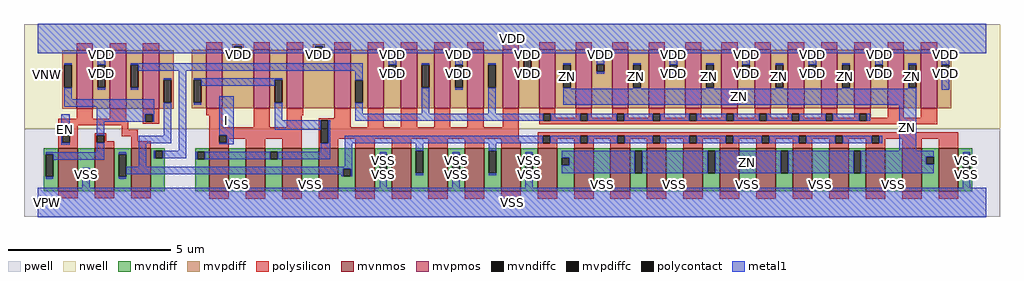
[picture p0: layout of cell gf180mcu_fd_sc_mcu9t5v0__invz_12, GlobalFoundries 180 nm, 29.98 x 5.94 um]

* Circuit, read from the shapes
.subckt gf180mcu_fd_sc_mcu9t5v0__invz_12 EN I ZN VDD VNW VPW VSS
XM1 VSS EN n1 VPW nfet_06v0 w=1.32u l=0.6u
XM2 n2 n1 VSS VPW nfet_06v0 w=1.32u l=0.6u
XM3 n3 EN n2 VPW nfet_06v0 w=1.32u l=0.6u
XM4 VSS I n4 VPW nfet_06v0 w=1.32u l=0.6u m=3
XM5 n2 n4 VSS VPW nfet_06v0 w=1.32u l=0.6u m=6
XM6 ZN n2 VSS VPW nfet_06v0 w=1.32u l=0.6u m=12
XM7 VDD EN n1 VNW pfet_06v0 w=1.8u l=0.5u
XM8 n3 EN VDD VNW pfet_06v0 w=1.8u l=0.5u
XM9 n2 n1 n3 VNW pfet_06v0 w=1.8u l=0.5u
XM10 VDD I n4 VNW pfet_06v0 w=1.8u l=0.5u m=3
XM11 n3 n4 VDD VNW pfet_06v0 w=1.8u l=0.5u m=6
XM12 ZN n3 VDD VNW pfet_06v0 w=1.8u l=0.5u m=12
.ends

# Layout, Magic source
magic
tech gf180mcuD
magscale 1 10
<< nwell >>
rect -86 453 5910 1094
<< pwell >>
rect -86 -86 5910 453
<< mvnmos >>
rect 124 69 244 333
rect 348 69 468 333
rect 572 69 692 333
rect 1053 68 1173 332
rect 1277 68 1397 332
rect 1501 68 1621 332
rect 1725 68 1845 332
rect 1949 68 2069 332
rect 2173 68 2293 332
rect 2397 68 2517 332
rect 2621 68 2741 332
rect 2845 68 2965 332
rect 3069 68 3189 332
rect 3293 68 3413 332
rect 3517 68 3637 332
rect 3741 68 3861 332
rect 3965 68 4085 332
rect 4189 68 4309 332
rect 4413 68 4533 332
rect 4637 68 4757 332
rect 4861 68 4981 332
rect 5085 68 5205 332
rect 5309 68 5429 332
rect 5533 68 5653 332
<< mvpmos >>
rect 237 575 337 935
rect 441 575 541 935
rect 645 575 745 935
rect 1033 580 1133 940
rect 1325 580 1425 940
rect 1529 580 1629 940
rect 1821 580 1921 940
rect 2025 580 2125 940
rect 2229 580 2329 940
rect 2433 580 2533 940
rect 2637 580 2737 940
rect 2855 580 2955 940
rect 3079 580 3179 940
rect 3303 580 3403 940
rect 3527 580 3627 940
rect 3751 580 3851 940
rect 3975 580 4075 940
rect 4199 580 4299 940
rect 4403 580 4503 940
rect 4607 580 4707 940
rect 4811 580 4911 940
rect 5015 580 5115 940
rect 5219 580 5319 940
rect 5423 580 5523 940
<< mvndiff >>
rect 36 297 124 333
rect 36 157 49 297
rect 95 157 124 297
rect 36 69 124 157
rect 244 203 348 333
rect 244 157 273 203
rect 319 157 348 203
rect 244 69 348 157
rect 468 297 572 333
rect 468 157 497 297
rect 543 157 572 297
rect 468 69 572 157
rect 692 319 780 333
rect 692 273 721 319
rect 767 273 780 319
rect 692 69 780 273
rect 965 311 1053 332
rect 965 265 978 311
rect 1024 265 1053 311
rect 965 68 1053 265
rect 1173 127 1277 332
rect 1173 81 1202 127
rect 1248 81 1277 127
rect 1173 68 1277 81
rect 1397 311 1501 332
rect 1397 265 1426 311
rect 1472 265 1501 311
rect 1397 68 1501 265
rect 1621 127 1725 332
rect 1621 81 1650 127
rect 1696 81 1725 127
rect 1621 68 1725 81
rect 1845 209 1949 332
rect 1845 163 1874 209
rect 1920 163 1949 209
rect 1845 68 1949 163
rect 2069 297 2173 332
rect 2069 157 2098 297
rect 2144 157 2173 297
rect 2069 68 2173 157
rect 2293 319 2397 332
rect 2293 179 2322 319
rect 2368 179 2397 319
rect 2293 68 2397 179
rect 2517 297 2621 332
rect 2517 157 2546 297
rect 2592 157 2621 297
rect 2517 68 2621 157
rect 2741 319 2845 332
rect 2741 179 2770 319
rect 2816 179 2845 319
rect 2741 68 2845 179
rect 2965 297 3069 332
rect 2965 157 2994 297
rect 3040 157 3069 297
rect 2965 68 3069 157
rect 3189 274 3293 332
rect 3189 228 3218 274
rect 3264 228 3293 274
rect 3189 68 3293 228
rect 3413 127 3517 332
rect 3413 81 3442 127
rect 3488 81 3517 127
rect 3413 68 3517 81
rect 3637 319 3741 332
rect 3637 179 3666 319
rect 3712 179 3741 319
rect 3637 68 3741 179
rect 3861 127 3965 332
rect 3861 81 3890 127
rect 3936 81 3965 127
rect 3861 68 3965 81
rect 4085 319 4189 332
rect 4085 179 4114 319
rect 4160 179 4189 319
rect 4085 68 4189 179
rect 4309 127 4413 332
rect 4309 81 4338 127
rect 4384 81 4413 127
rect 4309 68 4413 81
rect 4533 319 4637 332
rect 4533 179 4562 319
rect 4608 179 4637 319
rect 4533 68 4637 179
rect 4757 127 4861 332
rect 4757 81 4786 127
rect 4832 81 4861 127
rect 4757 68 4861 81
rect 4981 319 5085 332
rect 4981 179 5010 319
rect 5056 179 5085 319
rect 4981 68 5085 179
rect 5205 127 5309 332
rect 5205 81 5234 127
rect 5280 81 5309 127
rect 5205 68 5309 81
rect 5429 280 5533 332
rect 5429 234 5458 280
rect 5504 234 5533 280
rect 5429 68 5533 234
rect 5653 297 5741 332
rect 5653 157 5682 297
rect 5728 157 5741 297
rect 5653 68 5741 157
<< mvpdiff >>
rect 1193 959 1265 972
rect 1193 940 1206 959
rect 149 845 237 935
rect 149 705 162 845
rect 208 705 237 845
rect 149 575 237 705
rect 337 845 441 935
rect 337 705 366 845
rect 412 705 441 845
rect 337 575 441 705
rect 541 845 645 935
rect 541 705 570 845
rect 616 705 645 845
rect 541 575 645 705
rect 745 753 833 935
rect 745 613 774 753
rect 820 613 833 753
rect 745 575 833 613
rect 945 753 1033 940
rect 945 613 958 753
rect 1004 613 1033 753
rect 945 580 1033 613
rect 1133 913 1206 940
rect 1252 940 1265 959
rect 1689 959 1761 972
rect 1689 940 1702 959
rect 1252 913 1325 940
rect 1133 580 1325 913
rect 1425 753 1529 940
rect 1425 613 1454 753
rect 1500 613 1529 753
rect 1425 580 1529 613
rect 1629 913 1702 940
rect 1748 940 1761 959
rect 1748 913 1821 940
rect 1629 580 1821 913
rect 1921 752 2025 940
rect 1921 612 1950 752
rect 1996 612 2025 752
rect 1921 580 2025 612
rect 2125 847 2229 940
rect 2125 801 2154 847
rect 2200 801 2229 847
rect 2125 580 2229 801
rect 2329 845 2433 940
rect 2329 705 2358 845
rect 2404 705 2433 845
rect 2329 580 2433 705
rect 2533 845 2637 940
rect 2533 705 2562 845
rect 2608 705 2637 845
rect 2533 580 2637 705
rect 2737 845 2855 940
rect 2737 705 2766 845
rect 2812 705 2855 845
rect 2737 580 2855 705
rect 2955 927 3079 940
rect 2955 787 2984 927
rect 3030 787 3079 927
rect 2955 580 3079 787
rect 3179 845 3303 940
rect 3179 705 3228 845
rect 3274 705 3303 845
rect 3179 580 3303 705
rect 3403 849 3527 940
rect 3403 803 3432 849
rect 3478 803 3527 849
rect 3403 580 3527 803
rect 3627 845 3751 940
rect 3627 705 3656 845
rect 3702 705 3751 845
rect 3627 580 3751 705
rect 3851 845 3975 940
rect 3851 799 3880 845
rect 3926 799 3975 845
rect 3851 580 3975 799
rect 4075 845 4199 940
rect 4075 705 4104 845
rect 4150 705 4199 845
rect 4075 580 4199 705
rect 4299 845 4403 940
rect 4299 799 4328 845
rect 4374 799 4403 845
rect 4299 580 4403 799
rect 4503 845 4607 940
rect 4503 705 4532 845
rect 4578 705 4607 845
rect 4503 580 4607 705
rect 4707 845 4811 940
rect 4707 799 4736 845
rect 4782 799 4811 845
rect 4707 580 4811 799
rect 4911 845 5015 940
rect 4911 705 4940 845
rect 4986 705 5015 845
rect 4911 580 5015 705
rect 5115 845 5219 940
rect 5115 799 5144 845
rect 5190 799 5219 845
rect 5115 580 5219 799
rect 5319 845 5423 940
rect 5319 705 5348 845
rect 5394 705 5423 845
rect 5319 580 5423 705
rect 5523 845 5611 940
rect 5523 799 5552 845
rect 5598 799 5611 845
rect 5523 580 5611 799
<< mvndiffc >>
rect 49 157 95 297
rect 273 157 319 203
rect 497 157 543 297
rect 721 273 767 319
rect 978 265 1024 311
rect 1202 81 1248 127
rect 1426 265 1472 311
rect 1650 81 1696 127
rect 1874 163 1920 209
rect 2098 157 2144 297
rect 2322 179 2368 319
rect 2546 157 2592 297
rect 2770 179 2816 319
rect 2994 157 3040 297
rect 3218 228 3264 274
rect 3442 81 3488 127
rect 3666 179 3712 319
rect 3890 81 3936 127
rect 4114 179 4160 319
rect 4338 81 4384 127
rect 4562 179 4608 319
rect 4786 81 4832 127
rect 5010 179 5056 319
rect 5234 81 5280 127
rect 5458 234 5504 280
rect 5682 157 5728 297
<< mvpdiffc >>
rect 162 705 208 845
rect 366 705 412 845
rect 570 705 616 845
rect 774 613 820 753
rect 958 613 1004 753
rect 1206 913 1252 959
rect 1454 613 1500 753
rect 1702 913 1748 959
rect 1950 612 1996 752
rect 2154 801 2200 847
rect 2358 705 2404 845
rect 2562 705 2608 845
rect 2766 705 2812 845
rect 2984 787 3030 927
rect 3228 705 3274 845
rect 3432 803 3478 849
rect 3656 705 3702 845
rect 3880 799 3926 845
rect 4104 705 4150 845
rect 4328 799 4374 845
rect 4532 705 4578 845
rect 4736 799 4782 845
rect 4940 705 4986 845
rect 5144 799 5190 845
rect 5348 705 5394 845
rect 5552 799 5598 845
<< polysilicon >>
rect 237 935 337 979
rect 441 935 541 979
rect 645 935 745 979
rect 1033 940 1133 984
rect 1325 940 1425 984
rect 1529 940 1629 984
rect 1821 940 1921 984
rect 2025 940 2125 984
rect 2229 940 2329 984
rect 2433 940 2533 984
rect 2637 940 2737 984
rect 2855 940 2955 984
rect 3079 940 3179 984
rect 3303 940 3403 984
rect 3527 940 3627 984
rect 3751 940 3851 984
rect 3975 940 4075 984
rect 4199 940 4299 984
rect 4403 940 4503 984
rect 4607 940 4707 984
rect 4811 940 4911 984
rect 5015 940 5115 984
rect 5219 940 5319 984
rect 5423 940 5523 984
rect 237 515 337 575
rect 441 515 541 575
rect 124 504 541 515
rect 645 542 745 575
rect 124 475 553 504
rect 645 496 658 542
rect 704 496 745 542
rect 1033 536 1133 580
rect 645 483 745 496
rect 124 414 244 475
rect 513 448 553 475
rect 1053 464 1133 536
rect 1325 464 1425 580
rect 1529 536 1629 580
rect 1529 464 1621 536
rect 1821 518 1921 580
rect 124 368 148 414
rect 194 368 244 414
rect 124 333 244 368
rect 348 414 420 427
rect 348 368 361 414
rect 407 377 420 414
rect 513 408 612 448
rect 572 377 612 408
rect 1053 414 1621 464
rect 407 368 468 377
rect 348 333 468 368
rect 572 333 692 377
rect 1053 368 1114 414
rect 1160 392 1621 414
rect 1160 368 1173 392
rect 1053 332 1173 368
rect 1277 332 1397 392
rect 1501 332 1621 392
rect 1725 505 1921 518
rect 1725 365 1738 505
rect 1784 464 1921 505
rect 2025 464 2125 580
rect 2229 464 2329 580
rect 2433 464 2533 580
rect 2637 464 2737 580
rect 2855 464 2955 580
rect 3079 547 3179 580
rect 3079 501 3105 547
rect 3151 520 3179 547
rect 3303 547 3403 580
rect 3303 520 3330 547
rect 3151 501 3330 520
rect 3376 520 3403 547
rect 3527 547 3627 580
rect 3527 520 3556 547
rect 3376 501 3556 520
rect 3602 520 3627 547
rect 3751 547 3851 580
rect 3751 520 3778 547
rect 3602 501 3778 520
rect 3824 520 3851 547
rect 3975 547 4075 580
rect 3975 520 4002 547
rect 3824 501 4002 520
rect 4048 520 4075 547
rect 4199 547 4299 580
rect 4199 520 4228 547
rect 4048 501 4228 520
rect 4274 520 4299 547
rect 4403 547 4503 580
rect 4403 520 4431 547
rect 4274 501 4431 520
rect 4477 520 4503 547
rect 4607 547 4707 580
rect 4607 520 4631 547
rect 4477 501 4631 520
rect 4677 520 4707 547
rect 4811 547 4911 580
rect 4811 520 4838 547
rect 4677 501 4838 520
rect 4884 520 4911 547
rect 5015 547 5115 580
rect 5015 520 5044 547
rect 4884 501 5044 520
rect 5090 520 5115 547
rect 5219 520 5319 580
rect 5423 520 5523 580
rect 5090 501 5523 520
rect 3079 480 5523 501
rect 1784 392 2955 464
rect 1784 365 1845 392
rect 1725 332 1845 365
rect 1949 332 2069 392
rect 2173 332 2293 392
rect 2397 332 2517 392
rect 2621 332 2741 392
rect 2845 376 2955 392
rect 3069 411 5653 432
rect 2845 332 2965 376
rect 3069 365 3101 411
rect 3147 392 3330 411
rect 3147 365 3189 392
rect 3069 332 3189 365
rect 3293 365 3330 392
rect 3376 392 3558 411
rect 3376 365 3413 392
rect 3293 332 3413 365
rect 3517 365 3558 392
rect 3604 392 3777 411
rect 3604 365 3637 392
rect 3517 332 3637 365
rect 3741 365 3777 392
rect 3823 392 4000 411
rect 3823 365 3861 392
rect 3741 332 3861 365
rect 3965 365 4000 392
rect 4046 392 4225 411
rect 4046 365 4085 392
rect 3965 332 4085 365
rect 4189 365 4225 392
rect 4271 392 4447 411
rect 4271 365 4309 392
rect 4189 332 4309 365
rect 4413 365 4447 392
rect 4493 392 4674 411
rect 4493 365 4533 392
rect 4413 332 4533 365
rect 4637 365 4674 392
rect 4720 392 4899 411
rect 4720 365 4757 392
rect 4637 332 4757 365
rect 4861 365 4899 392
rect 4945 392 5122 411
rect 4945 365 4981 392
rect 4861 332 4981 365
rect 5085 365 5122 392
rect 5168 392 5653 411
rect 5168 365 5205 392
rect 5085 332 5205 365
rect 5309 332 5429 392
rect 5533 332 5653 392
rect 124 25 244 69
rect 348 25 468 69
rect 572 25 692 69
rect 1053 24 1173 68
rect 1277 24 1397 68
rect 1501 24 1621 68
rect 1725 24 1845 68
rect 1949 24 2069 68
rect 2173 24 2293 68
rect 2397 24 2517 68
rect 2621 24 2741 68
rect 2845 24 2965 68
rect 3069 24 3189 68
rect 3293 24 3413 68
rect 3517 24 3637 68
rect 3741 24 3861 68
rect 3965 24 4085 68
rect 4189 24 4309 68
rect 4413 24 4533 68
rect 4637 24 4757 68
rect 4861 24 4981 68
rect 5085 24 5205 68
rect 5309 24 5429 68
rect 5533 24 5653 68
<< polycontact >>
rect 658 496 704 542
rect 148 368 194 414
rect 361 368 407 414
rect 1114 368 1160 414
rect 1738 365 1784 505
rect 3105 501 3151 547
rect 3330 501 3376 547
rect 3556 501 3602 547
rect 3778 501 3824 547
rect 4002 501 4048 547
rect 4228 501 4274 547
rect 4431 501 4477 547
rect 4631 501 4677 547
rect 4838 501 4884 547
rect 5044 501 5090 547
rect 3101 365 3147 411
rect 3330 365 3376 411
rect 3558 365 3604 411
rect 3777 365 3823 411
rect 4000 365 4046 411
rect 4225 365 4271 411
rect 4447 365 4493 411
rect 4674 365 4720 411
rect 4899 365 4945 411
rect 5122 365 5168 411
<< metal1 >>
rect 0 959 5824 1098
rect 0 918 1206 959
rect 162 845 208 856
rect 162 634 208 705
rect 366 845 412 918
rect 1252 918 1702 959
rect 1206 902 1252 913
rect 1748 927 5824 959
rect 1748 918 2984 927
rect 1702 902 1748 913
rect 366 694 412 705
rect 570 845 1996 856
rect 616 810 1996 845
rect 570 694 616 705
rect 774 753 820 764
rect 162 588 715 634
rect 361 542 715 588
rect 142 414 194 542
rect 142 368 148 414
rect 142 354 194 368
rect 361 496 658 542
rect 704 496 715 542
rect 361 414 407 496
rect 774 411 820 613
rect 361 308 407 368
rect 618 365 820 411
rect 49 297 407 308
rect 95 262 407 297
rect 497 297 543 308
rect 49 146 95 157
rect 273 203 319 214
rect 273 90 319 157
rect 618 219 664 365
rect 866 319 912 810
rect 958 753 1500 764
rect 1004 718 1454 753
rect 958 602 1004 613
rect 1114 414 1202 654
rect 1454 505 1500 613
rect 1950 752 1996 810
rect 2154 847 2200 918
rect 2154 790 2200 801
rect 2358 845 2404 856
rect 1950 547 1996 612
rect 2358 547 2404 705
rect 2562 845 2608 918
rect 2562 694 2608 705
rect 2766 845 2812 856
rect 3030 918 5824 927
rect 2984 776 3030 787
rect 3228 845 3274 856
rect 2766 547 2812 705
rect 3432 849 3478 918
rect 3432 792 3478 803
rect 3656 845 3702 856
rect 3228 698 3274 705
rect 3880 845 3926 918
rect 3880 788 3926 799
rect 4104 845 4150 856
rect 3656 698 3702 705
rect 4328 845 4374 918
rect 4328 788 4374 799
rect 4532 845 4578 856
rect 4104 698 4150 705
rect 4736 845 4782 918
rect 4736 788 4782 799
rect 4940 845 4986 856
rect 4532 698 4578 705
rect 5144 845 5190 918
rect 5144 788 5190 799
rect 5347 845 5394 856
rect 4940 698 4986 705
rect 5347 705 5348 845
rect 5347 698 5394 705
rect 3228 602 5394 698
rect 5552 845 5598 918
rect 5552 694 5598 799
rect 1454 446 1738 505
rect 1160 368 1202 414
rect 1114 357 1202 368
rect 1784 365 1795 505
rect 1950 501 3105 547
rect 3151 501 3330 547
rect 3376 501 3556 547
rect 3602 501 3778 547
rect 3824 501 4002 547
rect 4048 501 4228 547
rect 4274 501 4431 547
rect 4477 501 4631 547
rect 4677 501 4838 547
rect 4884 501 5044 547
rect 5090 501 5114 547
rect 710 273 721 319
rect 767 273 912 319
rect 1738 311 1795 365
rect 967 265 978 311
rect 1024 265 1426 311
rect 1472 265 1795 311
rect 1886 365 3101 411
rect 3147 365 3330 411
rect 3376 365 3558 411
rect 3604 365 3777 411
rect 3823 365 4000 411
rect 4046 365 4225 411
rect 4271 365 4447 411
rect 4493 365 4674 411
rect 4720 365 4899 411
rect 4945 365 5122 411
rect 5168 365 5188 411
rect 1886 219 1932 365
rect 2322 319 2368 365
rect 543 209 1932 219
rect 543 173 1874 209
rect 1863 163 1874 173
rect 1920 163 1932 209
rect 2098 297 2144 308
rect 497 146 543 157
rect 2770 319 2816 365
rect 5290 319 5396 602
rect 2322 168 2368 179
rect 2546 297 2592 308
rect 1191 90 1202 127
rect 0 81 1202 90
rect 1248 90 1259 127
rect 1639 90 1650 127
rect 1248 81 1650 90
rect 1696 90 1707 127
rect 2098 90 2144 157
rect 2770 168 2816 179
rect 2994 297 3040 308
rect 2546 90 2592 157
rect 3218 274 3666 319
rect 3264 228 3666 274
rect 3218 179 3666 228
rect 3712 179 4114 319
rect 4160 179 4562 319
rect 4608 179 5010 319
rect 5056 280 5504 319
rect 5056 234 5458 280
rect 5056 179 5504 234
rect 5682 297 5728 308
rect 2994 90 3040 157
rect 3431 90 3442 127
rect 1696 81 3442 90
rect 3488 90 3499 127
rect 3879 90 3890 127
rect 3488 81 3890 90
rect 3936 90 3947 127
rect 4327 90 4338 127
rect 3936 81 4338 90
rect 4384 90 4395 127
rect 4775 90 4786 127
rect 4384 81 4786 90
rect 4832 90 4843 127
rect 5223 90 5234 127
rect 4832 81 5234 90
rect 5280 90 5291 127
rect 5682 90 5728 157
rect 5280 81 5824 90
rect 0 -90 5824 81
<< labels >>
flabel metal1 s 142 354 194 542 0 FreeSans 200 0 0 0 EN
port 1 nsew default input
flabel metal1 s 1114 357 1202 654 0 FreeSans 200 0 0 0 I
port 2 nsew default input
flabel metal1 s 0 918 5824 1098 0 FreeSans 200 0 0 0 VDD
port 4 nsew power bidirectional abutment
flabel metal1 s 5682 214 5728 308 0 FreeSans 200 0 0 0 VSS
port 7 nsew ground bidirectional abutment
flabel metal1 s 5347 698 5394 856 0 FreeSans 200 0 0 0 ZN
port 3 nsew default output
flabel nwell s 10 734 110 834 0 FreeSans 400 0 0 0 VNW
port 5 nsew power bidirectional
flabel pwell s 10 -50 110 50 0 FreeSans 400 0 0 0 VPW
port 6 nsew ground bidirectional
rlabel metal1 s 4940 698 4986 856 1 ZN
port 3 nsew default output
rlabel metal1 s 4532 698 4578 856 1 ZN
port 3 nsew default output
rlabel metal1 s 4104 698 4150 856 1 ZN
port 3 nsew default output
rlabel metal1 s 3656 698 3702 856 1 ZN
port 3 nsew default output
rlabel metal1 s 3228 698 3274 856 1 ZN
port 3 nsew default output
rlabel metal1 s 3228 602 5394 698 1 ZN
port 3 nsew default output
rlabel metal1 s 5290 319 5396 602 1 ZN
port 3 nsew default output
rlabel metal1 s 3218 179 5504 319 1 ZN
port 3 nsew default output
rlabel metal1 s 5552 902 5598 918 1 VDD
port 4 nsew power bidirectional abutment
rlabel metal1 s 5144 902 5190 918 1 VDD
port 4 nsew power bidirectional abutment
rlabel metal1 s 4736 902 4782 918 1 VDD
port 4 nsew power bidirectional abutment
rlabel metal1 s 4328 902 4374 918 1 VDD
port 4 nsew power bidirectional abutment
rlabel metal1 s 3880 902 3926 918 1 VDD
port 4 nsew power bidirectional abutment
rlabel metal1 s 3432 902 3478 918 1 VDD
port 4 nsew power bidirectional abutment
rlabel metal1 s 2984 902 3030 918 1 VDD
port 4 nsew power bidirectional abutment
rlabel metal1 s 2562 902 2608 918 1 VDD
port 4 nsew power bidirectional abutment
rlabel metal1 s 2154 902 2200 918 1 VDD
port 4 nsew power bidirectional abutment
rlabel metal1 s 1702 902 1748 918 1 VDD
port 4 nsew power bidirectional abutment
rlabel metal1 s 1206 902 1252 918 1 VDD
port 4 nsew power bidirectional abutment
rlabel metal1 s 366 902 412 918 1 VDD
port 4 nsew power bidirectional abutment
rlabel metal1 s 5552 792 5598 902 1 VDD
port 4 nsew power bidirectional abutment
rlabel metal1 s 5144 792 5190 902 1 VDD
port 4 nsew power bidirectional abutment
rlabel metal1 s 4736 792 4782 902 1 VDD
port 4 nsew power bidirectional abutment
rlabel metal1 s 4328 792 4374 902 1 VDD
port 4 nsew power bidirectional abutment
rlabel metal1 s 3880 792 3926 902 1 VDD
port 4 nsew power bidirectional abutment
rlabel metal1 s 3432 792 3478 902 1 VDD
port 4 nsew power bidirectional abutment
rlabel metal1 s 2984 792 3030 902 1 VDD
port 4 nsew power bidirectional abutment
rlabel metal1 s 2562 792 2608 902 1 VDD
port 4 nsew power bidirectional abutment
rlabel metal1 s 2154 792 2200 902 1 VDD
port 4 nsew power bidirectional abutment
rlabel metal1 s 366 792 412 902 1 VDD
port 4 nsew power bidirectional abutment
rlabel metal1 s 5552 790 5598 792 1 VDD
port 4 nsew power bidirectional abutment
rlabel metal1 s 5144 790 5190 792 1 VDD
port 4 nsew power bidirectional abutment
rlabel metal1 s 4736 790 4782 792 1 VDD
port 4 nsew power bidirectional abutment
rlabel metal1 s 4328 790 4374 792 1 VDD
port 4 nsew power bidirectional abutment
rlabel metal1 s 3880 790 3926 792 1 VDD
port 4 nsew power bidirectional abutment
rlabel metal1 s 2984 790 3030 792 1 VDD
port 4 nsew power bidirectional abutment
rlabel metal1 s 2562 790 2608 792 1 VDD
port 4 nsew power bidirectional abutment
rlabel metal1 s 2154 790 2200 792 1 VDD
port 4 nsew power bidirectional abutment
rlabel metal1 s 366 790 412 792 1 VDD
port 4 nsew power bidirectional abutment
rlabel metal1 s 5552 788 5598 790 1 VDD
port 4 nsew power bidirectional abutment
rlabel metal1 s 5144 788 5190 790 1 VDD
port 4 nsew power bidirectional abutment
rlabel metal1 s 4736 788 4782 790 1 VDD
port 4 nsew power bidirectional abutment
rlabel metal1 s 4328 788 4374 790 1 VDD
port 4 nsew power bidirectional abutment
rlabel metal1 s 3880 788 3926 790 1 VDD
port 4 nsew power bidirectional abutment
rlabel metal1 s 2984 788 3030 790 1 VDD
port 4 nsew power bidirectional abutment
rlabel metal1 s 2562 788 2608 790 1 VDD
port 4 nsew power bidirectional abutment
rlabel metal1 s 366 788 412 790 1 VDD
port 4 nsew power bidirectional abutment
rlabel metal1 s 5552 776 5598 788 1 VDD
port 4 nsew power bidirectional abutment
rlabel metal1 s 2984 776 3030 788 1 VDD
port 4 nsew power bidirectional abutment
rlabel metal1 s 2562 776 2608 788 1 VDD
port 4 nsew power bidirectional abutment
rlabel metal1 s 366 776 412 788 1 VDD
port 4 nsew power bidirectional abutment
rlabel metal1 s 5552 694 5598 776 1 VDD
port 4 nsew power bidirectional abutment
rlabel metal1 s 2562 694 2608 776 1 VDD
port 4 nsew power bidirectional abutment
rlabel metal1 s 366 694 412 776 1 VDD
port 4 nsew power bidirectional abutment
rlabel metal1 s 2994 214 3040 308 1 VSS
port 7 nsew ground bidirectional abutment
rlabel metal1 s 2546 214 2592 308 1 VSS
port 7 nsew ground bidirectional abutment
rlabel metal1 s 2098 214 2144 308 1 VSS
port 7 nsew ground bidirectional abutment
rlabel metal1 s 5682 127 5728 214 1 VSS
port 7 nsew ground bidirectional abutment
rlabel metal1 s 2994 127 3040 214 1 VSS
port 7 nsew ground bidirectional abutment
rlabel metal1 s 2546 127 2592 214 1 VSS
port 7 nsew ground bidirectional abutment
rlabel metal1 s 2098 127 2144 214 1 VSS
port 7 nsew ground bidirectional abutment
rlabel metal1 s 273 127 319 214 1 VSS
port 7 nsew ground bidirectional abutment
rlabel metal1 s 5682 90 5728 127 1 VSS
port 7 nsew ground bidirectional abutment
rlabel metal1 s 5223 90 5291 127 1 VSS
port 7 nsew ground bidirectional abutment
rlabel metal1 s 4775 90 4843 127 1 VSS
port 7 nsew ground bidirectional abutment
rlabel metal1 s 4327 90 4395 127 1 VSS
port 7 nsew ground bidirectional abutment
rlabel metal1 s 3879 90 3947 127 1 VSS
port 7 nsew ground bidirectional abutment
rlabel metal1 s 3431 90 3499 127 1 VSS
port 7 nsew ground bidirectional abutment
rlabel metal1 s 2994 90 3040 127 1 VSS
port 7 nsew ground bidirectional abutment
rlabel metal1 s 2546 90 2592 127 1 VSS
port 7 nsew ground bidirectional abutment
rlabel metal1 s 2098 90 2144 127 1 VSS
port 7 nsew ground bidirectional abutment
rlabel metal1 s 1639 90 1707 127 1 VSS
port 7 nsew ground bidirectional abutment
rlabel metal1 s 1191 90 1259 127 1 VSS
port 7 nsew ground bidirectional abutment
rlabel metal1 s 273 90 319 127 1 VSS
port 7 nsew ground bidirectional abutment
rlabel metal1 s 0 -90 5824 90 1 VSS
port 7 nsew ground bidirectional abutment
<< properties >>
string FIXED_BBOX 0 0 5824 1008
string GDS_END 965970
string GDS_FILE $PDKPATH/libs.ref/gf180mcu_fd_sc_mcu9t5v0/gds/gf180mcu_fd_sc_mcu9t5v0.gds
string GDS_START 953662
string LEFclass core
string LEFsite GF018hv5v_green_sc9
string LEFsymmetry X Y
<< end >>
